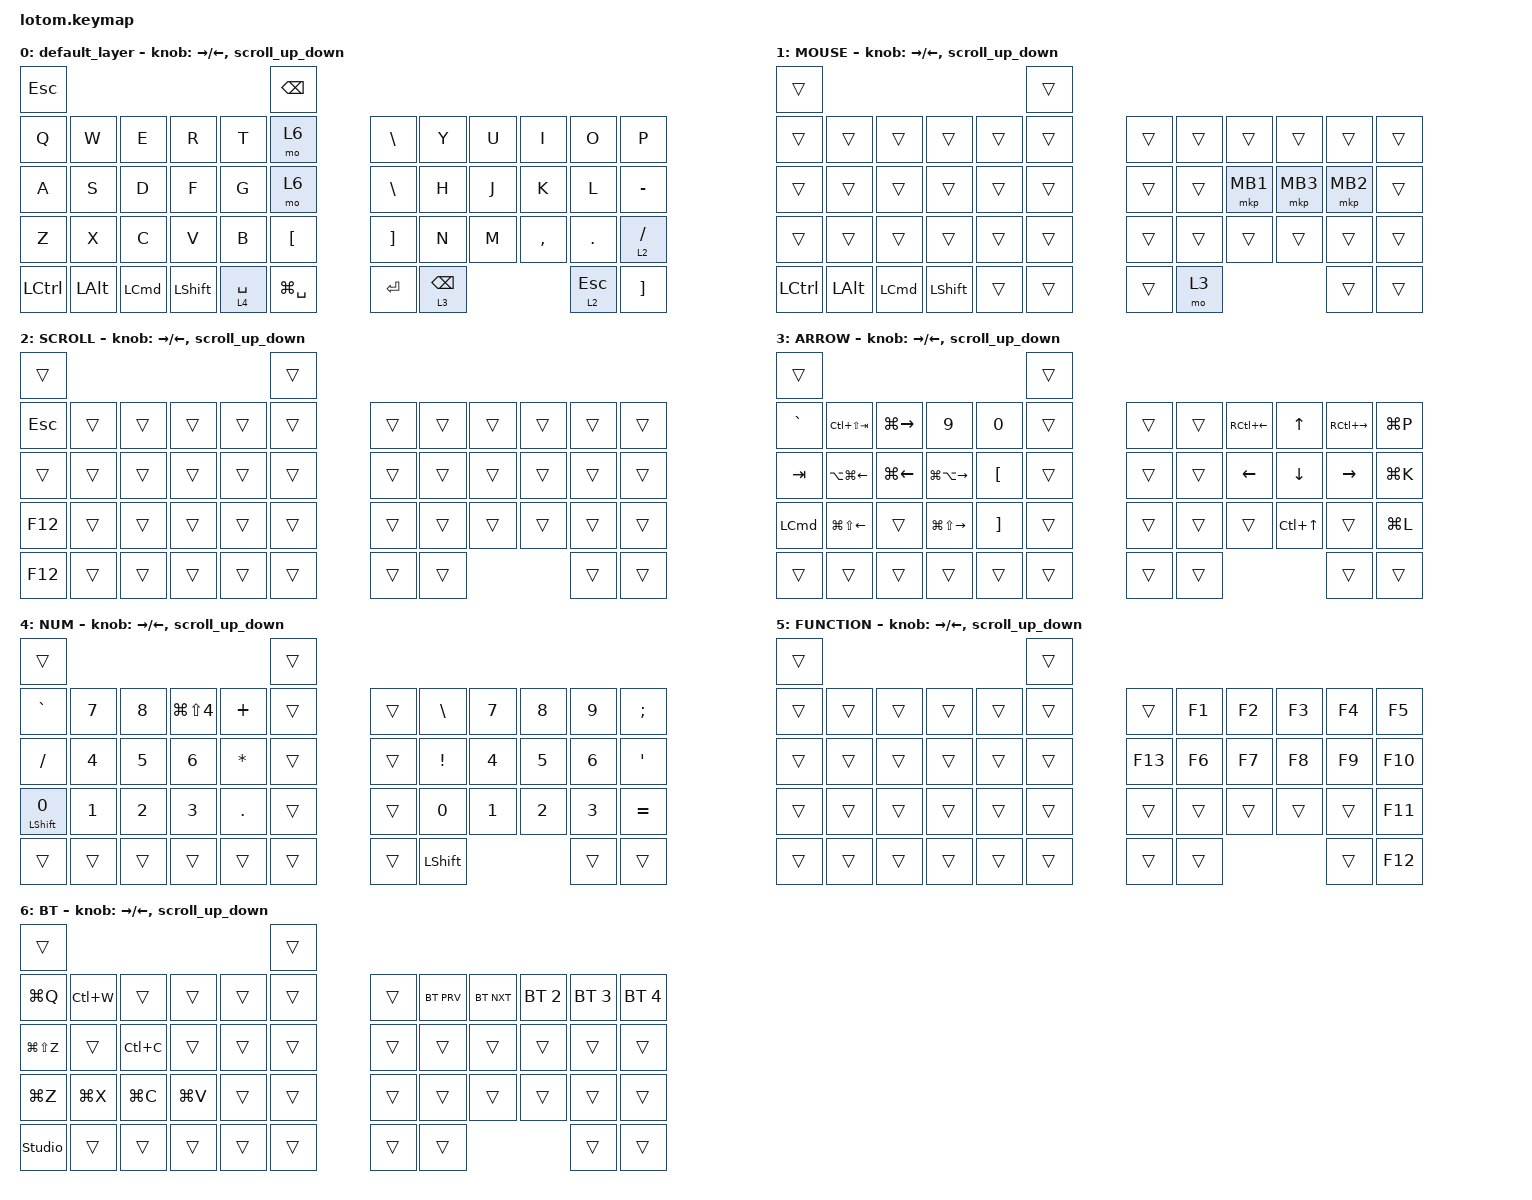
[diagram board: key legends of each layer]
#include <behaviors.dtsi>
#include <dt-bindings/zmk/bt.h>
#include <dt-bindings/zmk/keys.h>
#include <dt-bindings/zmk/pointing.h>
#include <input/processors/runtime-input-processor.dtsi>
#include <behaviors/runtime-sensor-rotate.dtsi>

#define ZMK_POINTING_DEFAULT_SCRL_VAL 80

/ {
    behaviors {
      scroll_up_down: behavior_sensor_rotate_mouse_wheel_up_down {
          compatible = "zmk,behavior-runtime-sensor-rotate";
          label = "ENCODER_MSC_DOWN_UP";
          #sensor-binding-cells = <0>;
          cw-binding = <&msc SCRL_DOWN>;
          ccw-binding = <&msc SCRL_UP>;
          tap-ms = <20>;
      };

      tab_slide: behavior_sensor_rotate_tab_slide {
          compatible = "zmk,behavior-runtime-sensor-rotate";
          label = "ENCODER_TAB_SLIDE";
          #sensor-binding-cells = <0>;
          cw-binding = <&kp LA(LG(RIGHT_ARROW))>;
          ccw-binding = <&kp LA(LG(LEFT_ARROW))>;
          tap-ms = <20>;
      };
    };

    keymap {
        compatible = "zmk,keymap";

        default_layer {
            bindings = <
&kp ESCAPE                                                                &kp BACKSPACE
&kp Q      &kp W         &kp E             &kp R           &kp T        &mo 6                      &kp BACKSLASH      &kp Y            &kp U     &kp I        &kp O         &kp P
&kp A      &kp S         &kp D             &kp F           &kp G        &mo 6                      &kp BACKSLASH      &kp H            &kp J     &kp K        &kp L         &kp MINUS
&kp Z      &kp X         &kp C             &kp V           &kp B        &kp LEFT_BRACKET           &kp RIGHT_BRACKET  &kp N            &kp M     &kp COMMA    &kp DOT       &lt 2 SLASH
&kp LCTRL  &kp LEFT_ALT  &kp LEFT_COMMAND  &kp LEFT_SHIFT  &lt 4 SPACE  &kp LG(SPACE)              &kp ENTER          &lt 3 BACKSPACE                         &lt 2 ESCAPE  &kp RIGHT_BRACKET
            >;

            sensor-bindings = <
                &inc_dec_kp RIGHT_ARROW LEFT_ARROW
                &scroll_up_down
            >;
        };

        MOUSE {
            bindings = <
&trans                                                                                                                       &trans
&trans     &trans        &trans            &trans          &trans  &trans      &trans  &trans  &trans    &trans    &trans    &trans
&trans     &trans        &trans            &trans          &trans  &trans      &trans  &trans  &mkp MB1  &mkp MB3  &mkp MB2  &trans
&trans     &trans        &trans            &trans          &trans  &trans      &trans  &trans  &trans    &trans    &trans    &trans
&kp LCTRL  &kp LEFT_ALT  &kp LEFT_COMMAND  &kp LEFT_SHIFT  &trans  &trans      &trans  &mo 3                       &trans    &trans
            >;

            sensor-bindings = <
                &inc_dec_kp RIGHT_ARROW LEFT_ARROW
                &scroll_up_down
            >;
        };

        SCROLL {
            bindings = <
&trans                                                                                          &trans
&kp ESCAPE  &trans  &trans  &trans  &trans  &trans      &trans  &trans  &trans  &trans  &trans  &trans
&trans      &trans  &trans  &trans  &trans  &trans      &trans  &trans  &trans  &trans  &trans  &trans
&kp F12     &trans  &trans  &trans  &trans  &trans      &trans  &trans  &trans  &trans  &trans  &trans
&kp F12     &trans  &trans  &trans  &trans  &trans      &trans  &trans                  &trans  &trans
            >;

            sensor-bindings = <
                &inc_dec_kp RIGHT_ARROW LEFT_ARROW
                &scroll_up_down
            >;
        };

        ARROW {
            bindings = <
&trans                                                                                                                                                                                 &trans
&kp GRAVE  &kp LC(LS(TAB))         &kp LG(RIGHT)   &kp NUMBER_9             &kp NUMBER_0       &trans      &trans  &trans  &kp RC(LEFT_ARROW)  &kp UP_ARROW      &kp RC(RIGHT_ARROW)  &kp LG(P)
&kp TAB    &kp LA(LG(LEFT_ARROW))  &kp LG(LEFT)    &kp LG(LA(RIGHT_ARROW))  &kp LEFT_BRACKET   &trans      &trans  &trans  &kp LEFT_ARROW      &kp DOWN_ARROW    &kp RIGHT_ARROW      &kp LG(K)
&kp LCMD   &kp LG(LS(LEFT_ARROW))  &trans          &kp LG(LS(RIGHT_ARROW))  &kp RIGHT_BRACKET  &trans      &trans  &trans  &trans              &kp LC(UP_ARROW)  &trans               &kp LG(L)
&trans     &trans                  &trans          &trans                   &trans             &trans      &trans  &trans                                         &trans               &trans
            >;

            sensor-bindings = <
                &inc_dec_kp RIGHT_ARROW LEFT_ARROW
                &scroll_up_down
            >;
        };

        NUM {
            bindings = <
&trans                                                                                                                                                                  &trans
&kp GRAVE                &kp NUMBER_7  &kp NUMBER_8  &kp LG(LS(NUMBER_4))  &kp PLUS      &trans      &trans  &kp BACKSLASH    &kp NUMBER_7  &kp NUMBER_8  &kp NUMBER_9  &kp SEMICOLON
&kp SLASH                &kp NUMBER_4  &kp NUMBER_5  &kp NUMBER_6          &kp ASTERISK  &trans      &trans  &kp EXCLAMATION  &kp NUMBER_4  &kp NUMBER_5  &kp NUMBER_6  &kp SQT
&mt LEFT_SHIFT NUMBER_0  &kp NUMBER_1  &kp NUMBER_2  &kp NUMBER_3          &kp PERIOD    &trans      &trans  &kp NUMBER_0     &kp NUMBER_1  &kp NUMBER_2  &kp NUMBER_3  &kp EQUAL
&trans                   &trans        &trans        &trans                &trans        &trans      &trans  &kp LEFT_SHIFT                               &trans        &trans
            >;

            sensor-bindings = <
                &inc_dec_kp RIGHT_ARROW LEFT_ARROW
                &scroll_up_down
            >;
        };

        FUNCTION {
            bindings = <
&trans                                                                                       &trans
&trans  &trans  &trans  &trans  &trans  &trans      &trans  &kp F1  &kp F2  &kp F3  &kp F4  &kp F5
&trans  &trans  &trans  &trans  &trans  &trans      &kp F13  &kp F6  &kp F7  &kp F8  &kp F9  &kp F10
&trans  &trans  &trans  &trans  &trans  &trans      &trans   &trans  &trans  &trans  &trans  &kp F11
&trans  &trans  &trans  &trans  &trans  &trans      &trans   &trans                  &trans  &kp F12
            >;

            sensor-bindings = <
                &inc_dec_kp RIGHT_ARROW LEFT_ARROW
                &scroll_up_down
            >;
        };

        BT {
            bindings = <
&trans                                                                                                                                      &trans
&kp LG(Q)      &kp LC(W)  &trans     &trans     &trans  &trans      &trans  &bt BT_PRV  &bt BT_NXT  &bt BT_SEL 2  &bt BT_SEL 3  &bt BT_SEL 4
&kp LG(LS(Z))  &trans     &kp LC(C)  &trans     &trans  &trans      &trans  &trans      &trans      &trans        &trans        &trans
&kp LG(Z)      &kp LG(X)  &kp LG(C)  &kp LG(V)  &trans  &trans      &trans  &trans      &trans      &trans        &trans        &trans
&studio_unlock &trans     &trans     &trans     &trans  &trans      &trans  &trans                                &trans        &trans
            >;

            sensor-bindings = <
                &inc_dec_kp RIGHT_ARROW LEFT_ARROW
                &scroll_up_down
            >;
        };
    };
};
